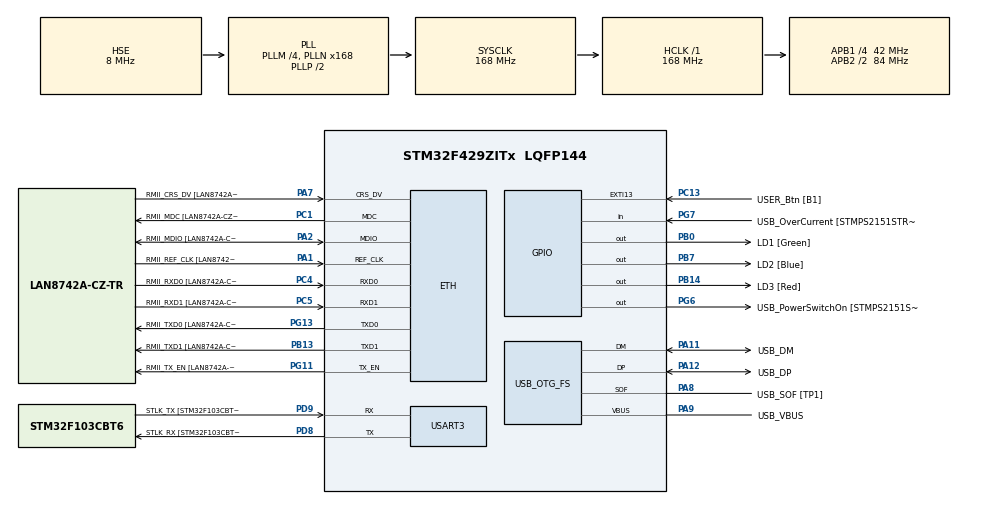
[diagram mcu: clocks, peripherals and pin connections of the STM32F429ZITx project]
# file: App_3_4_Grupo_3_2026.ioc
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ETH.MediaInterface=HAL_ETH_RMII_MODE
ETH.PHY_Name=LAN8742A_PHY_ADDRESS
ETH.PHY_Value=0
ETH.PhyAddress=0
Mcu.Family=STM32F4
Mcu.Name=STM32F429ZITx
Mcu.Package=LQFP144
NVIC.PriorityGroup=NVIC_PRIORITYGROUP_4
PA1.GPIO_Label=RMII_REF_CLK [LAN8742A-CZ-TR_REFCLK0]
PA1.Mode=RMII
PA1.Signal=ETH_REF_CLK
PA10.GPIO_Label=USB_ID
PA10.Signal=USB_OTG_FS_ID
PA11.GPIO_Label=USB_DM
PA11.Mode=Device_Only
PA11.Signal=USB_OTG_FS_DM
PA12.GPIO_Label=USB_DP
PA12.Mode=Device_Only
PA12.Signal=USB_OTG_FS_DP
PA13.GPIO_Label=TMS
PA13.Mode=Serial_Wire
PA13.Signal=SYS_JTMS-SWDIO
PA14.GPIO_Label=TCK
PA14.Mode=Serial_Wire
PA14.Signal=SYS_JTCK-SWCLK
PA2.GPIO_Label=RMII_MDIO [LAN8742A-CZ-TR_MDIO]
PA2.Mode=RMII
PA2.Signal=ETH_MDIO
PA7.GPIO_Label=RMII_CRS_DV [LAN8742A-CZ-TR_CRS_DV]
PA7.Mode=RMII
PA7.Signal=ETH_CRS_DV
PA8.GPIO_Label=USB_SOF [TP1]
PA8.Mode=Activate_SOF_FS
PA8.Signal=USB_OTG_FS_SOF
PA9.GPIO_Label=USB_VBUS
PA9.Mode=Activate_VBUS
PA9.Signal=USB_OTG_FS_VBUS
PB0.GPIO_Label=LD1 [Green]
PB0.Signal=GPIO_Output
PB13.GPIO_Label=RMII_TXD1 [LAN8742A-CZ-TR_TXD1]
PB13.Mode=RMII
PB13.Signal=ETH_TXD1
PB14.GPIO_Label=LD3 [Red]
PB14.Signal=GPIO_Output
PB7.GPIO_Label=LD2 [Blue]
PB7.Signal=GPIO_Output
PC1.GPIO_Label=RMII_MDC [LAN8742A-CZ-TR_MDC]
PC1.Mode=RMII
PC1.Signal=ETH_MDC
PC13.GPIO_Label=USER_Btn [B1]
PC13.Signal=GPXTI13
PC14/OSC32_IN.Mode=LSE-External-Oscillator
PC14/OSC32_IN.Signal=RCC_OSC32_IN
PC15/OSC32_OUT.Mode=LSE-External-Oscillator
PC15/OSC32_OUT.Signal=RCC_OSC32_OUT
PC4.GPIO_Label=RMII_RXD0 [LAN8742A-CZ-TR_RXD0]
PC4.Mode=RMII
PC4.Signal=ETH_RXD0
PC5.GPIO_Label=RMII_RXD1 [LAN8742A-CZ-TR_RXD1]
PC5.Mode=RMII
PC5.Signal=ETH_RXD1
PD8.GPIO_Label=STLK_RX [STM32F103CBT6_PA3]
PD8.Mode=Asynchronous
PD8.Signal=USART3_TX
PD9.GPIO_Label=STLK_TX [STM32F103CBT6_PA2]
PD9.Mode=Asynchronous
PD9.Signal=USART3_RX
PG11.GPIO_Label=RMII_TX_EN [LAN8742A-CZ-TR_TXEN]
PG11.Mode=RMII
PG11.Signal=ETH_TX_EN
PG13.GPIO_Label=RMII_TXD0 [LAN8742A-CZ-TR_TXD0]
PG13.Mode=RMII
PG13.Signal=ETH_TXD0
PG6.GPIO_Label=USB_PowerSwitchOn [STMPS2151STR_EN]
PG6.Signal=GPIO_Output
PG7.GPIO_Label=USB_OverCurrent [STMPS2151STR_FAULT]
PG7.Signal=GPIO_Input
PH0/OSC_IN.GPIO_Label=MCO [STM32F103CBT6_PA8]
PH0/OSC_IN.Mode=HSE-External-Clock-Source
PH0/OSC_IN.Signal=RCC_OSC_IN
PH1/OSC_OUT.Mode=HSE-External-Clock-Source
PH1/OSC_OUT.Signal=RCC_OSC_OUT
ProjectManager.HeapSize=0x200
ProjectManager.StackSize=0x400
ProjectManager.TargetToolchain=STM32CubeIDE
RCC.48MHZClocksFreq_Value=48000000
RCC.AHBFreq_Value=168000000
RCC.APB1CLKDivider=RCC_HCLK_DIV4
RCC.APB1Freq_Value=42000000
RCC.APB1TimFreq_Value=84000000
RCC.APB2CLKDivider=RCC_HCLK_DIV2
RCC.APB2Freq_Value=84000000
RCC.APB2TimCLKDivider=2
RCC.APB2TimFreq_Value=168000000
RCC.CortexFreq_Value=168000000
RCC.HCLKFreq_Value=168000000
RCC.HSE_VALUE=8000000
RCC.HSI_VALUE=16000000
RCC.PLLM=4
RCC.PLLMUL=RCC_PLL_MUL9
RCC.PLLN=168
RCC.PLLQ=7
RCC.PRESCALERUSB=RCC_USBCLKSOURCE_PLL_DIV1_5
RCC.SYSCLKFreq_VALUE=168000000
RCC.SYSCLKSource=RCC_SYSCLKSOURCE_PLLCLK
RCC.SYSCLKSourceVirtual=RCC_SYSCLKSOURCE_PLLCLK
RCC.USBFreq_Value=48000000
RCC.VCOOutputFreq_Value=336000000
USART3.VirtualMode=VM_ASYNC
USB_OTG_FS.VirtualMode=Device_Only
board=NUCLEO-F429ZI

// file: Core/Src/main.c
/* USER CODE BEGIN Header */
/**
  ******************************************************************************
  * @file           : main.c
  * @brief          : Main program body
  ******************************************************************************
  * App_3_4_Grupo_3_2026 - AFP3 - Driver GPIO
  *
  * Aplicacion (refactor de App 1.4 con driver): los tres leds onboard parpadean
  * simultaneamente. El pulsador de usuario cambia la frecuencia de parpadeo de
  * manera secuencial entre cuatro tiempos de alternancia predefinidos:
  * 100 ms -> 250 ms -> 500 ms -> 1000 ms -> vuelve a 100 ms.
  * Toda la gestion del modulo GPIO se realiza exclusivamente con las funciones
  * del driver API_GPIO (no se usan funciones HAL_GPIO_* en este archivo).
  ******************************************************************************
  * @attention
  *
  * Copyright (c) 2026 STMicroelectronics.
  * All rights reserved.
  *
  * This software is licensed under terms that can be found in the LICENSE file
  * in the root directory of this software component.
  * If no LICENSE file comes with this software, it is provided AS-IS.
  *
  ******************************************************************************
  */
/* USER CODE END Header */
#include "main.h"
#include "string.h"
#include "API_GPIO.h"

/* USER CODE BEGIN PD */
#define LED_COUNT		3		/* Cantidad de leds del vector */
#define TIEMPO_COUNT	4		/* Cantidad de tiempos de alternancia predefinidos */
#define PASO_MS			10		/* Paso de lectura del pulsador dentro de la espera [ms] */
/* USER CODE END PD */

ETH_TxPacketConfig TxConfig;
ETH_DMADescTypeDef  DMARxDscrTab[ETH_RX_DESC_CNT]; /* Ethernet Rx DMA Descriptors */
ETH_DMADescTypeDef  DMATxDscrTab[ETH_TX_DESC_CNT]; /* Ethernet Tx DMA Descriptors */

ETH_HandleTypeDef heth;

UART_HandleTypeDef huart3;

PCD_HandleTypeDef hpcd_USB_OTG_FS;

/* USER CODE BEGIN PV */
/* Vector de leds de la placa: con este formato la app queda general y puede
 * extenderse a mas leds con minimas modificaciones (solo agregar elementos) */
led_t leds[LED_COUNT] = {
	{LD1_GPIO_Port, LD1_Pin},
	{LD2_GPIO_Port, LD2_Pin},
	{LD3_GPIO_Port, LD3_Pin}
};

const button_t userButton = {USER_Btn_GPIO_Port, USER_Btn_Pin};

/* Tiempos de alternancia predefinidos [ms]: la aplicacion inicia en tiempo 1 */
const uint16_t tiempos[TIEMPO_COUNT] = {100, 250, 500, 1000};

buttonStatus_t botonAnterior = false;	/* Estado anterior del pulsador (para flanco) */
uint8_t idxTiempo = 0;					/* Indice del tiempo de alternancia activo */
/* USER CODE END PV */

void SystemClock_Config(void);
/* El prototipo de MX_GPIO_Init() paso al driver: ver API_GPIO.h */
static void MX_ETH_Init(void);
static void MX_USART3_UART_Init(void);
static void MX_USB_OTG_FS_PCD_Init(void);
/* USER CODE BEGIN PFP */
static void esperarConBoton(uint16_t tiempoMs);
static uint16_t tiempoActual(void);
/* USER CODE END PFP */

int main(void)
{

  /* MCU Configuration--------------------------------------------------------*/

  /* Reset of all peripherals, Initializes the Flash interface and the Systick. */
  HAL_Init();

  /* Configure the system clock */
  SystemClock_Config();

  /* Initialize all configured peripherals */
  MX_GPIO_Init();
  MX_ETH_Init();
  MX_USART3_UART_Init();
  MX_USB_OTG_FS_PCD_Init();

  /* Infinite loop */
  /* USER CODE BEGIN WHILE */
  while (1)
  {
	  /* Encendido simultaneo de los 3 leds */
	  for (uint8_t i = 0; i < LED_COUNT; i++)
	  {
		  writeLedOn_GPIO(leds[i]);
	  }
	  esperarConBoton(tiempoActual());

	  /* Apagado simultaneo de los 3 leds */
	  for (uint8_t i = 0; i < LED_COUNT; i++)
	  {
		  writeLedOff_GPIO(leds[i]);
	  }
	  esperarConBoton(tiempoActual());
    /* USER CODE END WHILE */

  }
}

void SystemClock_Config(void)
{
  RCC_OscInitTypeDef RCC_OscInitStruct = {0};
  RCC_ClkInitTypeDef RCC_ClkInitStruct = {0};

  /** Configure the main internal regulator output voltage
  */
  __HAL_RCC_PWR_CLK_ENABLE();
  __HAL_PWR_VOLTAGESCALING_CONFIG(PWR_REGULATOR_VOLTAGE_SCALE1);

  /** Initializes the RCC Oscillators according to the specified parameters
  * in the RCC_OscInitTypeDef structure.
  */
  RCC_OscInitStruct.OscillatorType = RCC_OSCILLATORTYPE_HSE;
  RCC_OscInitStruct.HSEState = RCC_HSE_BYPASS;
  RCC_OscInitStruct.PLL.PLLState = RCC_PLL_ON;
  RCC_OscInitStruct.PLL.PLLSource = RCC_PLLSOURCE_HSE;
  RCC_OscInitStruct.PLL.PLLM = 4;
  RCC_OscInitStruct.PLL.PLLN = 168;
  RCC_OscInitStruct.PLL.PLLP = RCC_PLLP_DIV2;
  RCC_OscInitStruct.PLL.PLLQ = 7;
  if (HAL_RCC_OscConfig(&RCC_OscInitStruct) != HAL_OK)
  {
    Error_Handler();
  }

  /** Initializes the CPU, AHB and APB buses clocks
  */
  RCC_ClkInitStruct.ClockType = RCC_CLOCKTYPE_HCLK|RCC_CLOCKTYPE_SYSCLK
                              |RCC_CLOCKTYPE_PCLK1|RCC_CLOCKTYPE_PCLK2;
  RCC_ClkInitStruct.SYSCLKSource = RCC_SYSCLKSOURCE_PLLCLK;
  RCC_ClkInitStruct.AHBCLKDivider = RCC_SYSCLK_DIV1;
  RCC_ClkInitStruct.APB1CLKDivider = RCC_HCLK_DIV4;
  RCC_ClkInitStruct.APB2CLKDivider = RCC_HCLK_DIV2;

  if (HAL_RCC_ClockConfig(&RCC_ClkInitStruct, FLASH_LATENCY_5) != HAL_OK)
  {
    Error_Handler();
  }
}

static void MX_ETH_Init(void)
{

   static uint8_t MACAddr[6];

  heth.Instance = ETH;
  MACAddr[0] = 0x00;
  MACAddr[1] = 0x80;
  MACAddr[2] = 0xE1;
  MACAddr[3] = 0x00;
  MACAddr[4] = 0x00;
  MACAddr[5] = 0x00;
  heth.Init.MACAddr = &MACAddr[0];
  heth.Init.MediaInterface = HAL_ETH_RMII_MODE;
  heth.Init.TxDesc = DMATxDscrTab;
  heth.Init.RxDesc = DMARxDscrTab;
  heth.Init.RxBuffLen = 1524;

  if (HAL_ETH_Init(&heth) != HAL_OK)
  {
    Error_Handler();
  }

  memset(&TxConfig, 0 , sizeof(ETH_TxPacketConfig));
  TxConfig.Attributes = ETH_TX_PACKETS_FEATURES_CSUM | ETH_TX_PACKETS_FEATURES_CRCPAD;
  TxConfig.ChecksumCtrl = ETH_CHECKSUM_IPHDR_PAYLOAD_INSERT_PHDR_CALC;
  TxConfig.CRCPadCtrl = ETH_CRC_PAD_INSERT;

}

static void MX_USART3_UART_Init(void)
{

  huart3.Instance = USART3;
  huart3.Init.BaudRate = 115200;
  huart3.Init.WordLength = UART_WORDLENGTH_8B;
  huart3.Init.StopBits = UART_STOPBITS_1;
  huart3.Init.Parity = UART_PARITY_NONE;
  huart3.Init.Mode = UART_MODE_TX_RX;
  huart3.Init.HwFlowCtl = UART_HWCONTROL_NONE;
  huart3.Init.OverSampling = UART_OVERSAMPLING_16;
  if (HAL_UART_Init(&huart3) != HAL_OK)
  {
    Error_Handler();
  }

}

static void MX_USB_OTG_FS_PCD_Init(void)
{

  hpcd_USB_OTG_FS.Instance = USB_OTG_FS;
  hpcd_USB_OTG_FS.Init.dev_endpoints = 4;
  hpcd_USB_OTG_FS.Init.speed = PCD_SPEED_FULL;
  hpcd_USB_OTG_FS.Init.dma_enable = DISABLE;
  hpcd_USB_OTG_FS.Init.phy_itface = PCD_PHY_EMBEDDED;
  hpcd_USB_OTG_FS.Init.Sof_enable = ENABLE;
  hpcd_USB_OTG_FS.Init.low_power_enable = DISABLE;
  hpcd_USB_OTG_FS.Init.lpm_enable = DISABLE;
  hpcd_USB_OTG_FS.Init.vbus_sensing_enable = ENABLE;
  hpcd_USB_OTG_FS.Init.use_dedicated_ep1 = DISABLE;
  if (HAL_PCD_Init(&hpcd_USB_OTG_FS) != HAL_OK)
  {
    Error_Handler();
  }

}

/* USER CODE BEGIN 4 */
/**
  * @brief Devuelve el tiempo de alternancia activo segun el indice actual.
  * @retval Tiempo de alternancia en milisegundos
  */
static uint16_t tiempoActual(void)
{
	return tiempos[idxTiempo];
}

/**
  * @brief Espera el tiempo indicado leyendo el pulsador cada PASO_MS.
  *        Si se detecta un flanco ascendente (pulsacion), avanza al siguiente
  *        tiempo de alternancia predefinido.
  * @param tiempoMs: tiempo total de espera en milisegundos
  * @retval None
  */
static void esperarConBoton(uint16_t tiempoMs)
{
	for (uint16_t t = 0; t < tiempoMs; t += PASO_MS)
	{
		buttonStatus_t actual = readButton_GPIO(userButton);
		if (actual && !botonAnterior)
		{
			idxTiempo = (idxTiempo + 1) % TIEMPO_COUNT;
		}
		botonAnterior = actual;
		HAL_Delay(PASO_MS);
	}
}
/* USER CODE END 4 */

void Error_Handler(void)
{
  __disable_irq();
  while (1)
  {
  }
}
